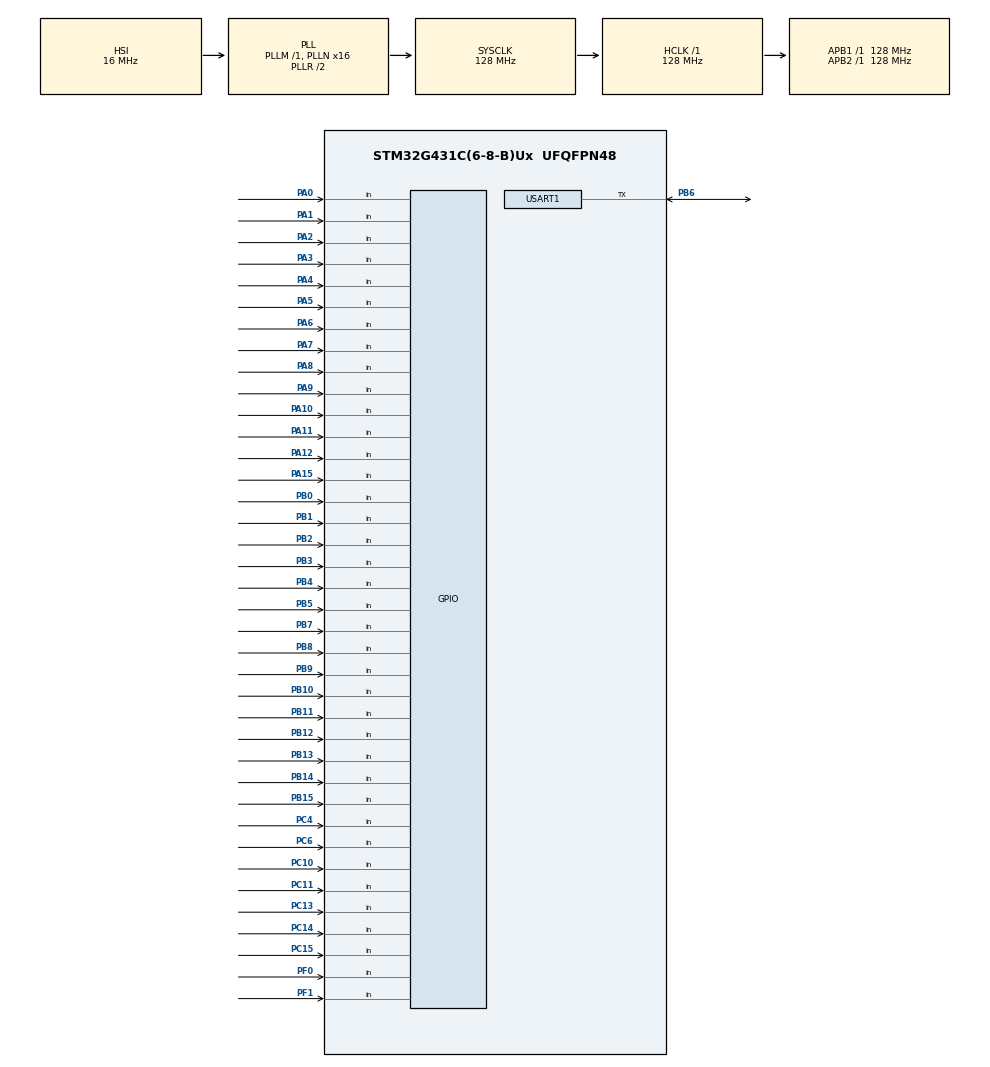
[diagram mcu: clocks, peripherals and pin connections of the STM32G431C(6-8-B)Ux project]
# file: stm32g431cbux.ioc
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Mcu.Family=STM32G4
Mcu.Name=STM32G431C(6-8-B)Ux
Mcu.Package=UFQFPN48
NVIC.PriorityGroup=NVIC_PRIORITYGROUP_4
PA0.GPIO_PuPd=GPIO_PULLUP
PA0.Signal=GPIO_Input
PA1.GPIO_PuPd=GPIO_PULLUP
PA1.Signal=GPIO_Input
PA10.GPIO_PuPd=GPIO_PULLUP
PA10.Signal=GPIO_Input
PA11.GPIO_PuPd=GPIO_PULLUP
PA11.Signal=GPIO_Input
PA12.GPIO_PuPd=GPIO_PULLUP
PA12.Signal=GPIO_Input
PA13.Mode=Serial_Wire
PA13.Signal=SYS_JTMS-SWDIO
PA14.Mode=Serial_Wire
PA14.Signal=SYS_JTCK-SWCLK
PA15.GPIO_PuPd=GPIO_PULLUP
PA15.Signal=GPIO_Input
PA2.GPIO_PuPd=GPIO_PULLUP
PA2.Signal=GPIO_Input
PA3.GPIO_PuPd=GPIO_PULLUP
PA3.Signal=GPIO_Input
PA4.GPIO_PuPd=GPIO_PULLUP
PA4.Signal=GPIO_Input
PA5.GPIO_PuPd=GPIO_PULLUP
PA5.Signal=GPIO_Input
PA6.GPIO_PuPd=GPIO_PULLUP
PA6.Signal=GPIO_Input
PA7.GPIO_PuPd=GPIO_PULLUP
PA7.Signal=GPIO_Input
PA8.GPIO_PuPd=GPIO_PULLUP
PA8.Signal=GPIO_Input
PA9.GPIO_PuPd=GPIO_PULLUP
PA9.Signal=GPIO_Input
PB0.GPIO_PuPd=GPIO_PULLUP
PB0.Signal=GPIO_Input
PB1.GPIO_PuPd=GPIO_PULLUP
PB1.Signal=GPIO_Input
PB10.GPIO_PuPd=GPIO_PULLUP
PB10.Signal=GPIO_Input
PB11.GPIO_PuPd=GPIO_PULLUP
PB11.Signal=GPIO_Input
PB12.GPIO_PuPd=GPIO_PULLUP
PB12.Signal=GPIO_Input
PB13.GPIO_PuPd=GPIO_PULLUP
PB13.Signal=GPIO_Input
PB14.GPIO_PuPd=GPIO_PULLUP
PB14.Signal=GPIO_Input
PB15.GPIO_PuPd=GPIO_PULLUP
PB15.Signal=GPIO_Input
PB2.GPIO_PuPd=GPIO_PULLUP
PB2.Signal=GPIO_Input
PB3.GPIO_PuPd=GPIO_PULLUP
PB3.Signal=GPIO_Input
PB4.GPIO_PuPd=GPIO_PULLUP
PB4.Signal=GPIO_Input
PB5.GPIO_PuPd=GPIO_PULLUP
PB5.Signal=GPIO_Input
PB6.GPIO_ModeDefaultOD=GPIO_MODE_AF_OD
PB6.Mode=Half_duplex(single_wire_mode)
PB6.Signal=USART1_TX
PB7.GPIO_PuPd=GPIO_PULLUP
PB7.Signal=GPIO_Input
PB8-BOOT0.GPIO_PuPd=GPIO_PULLUP
PB8-BOOT0.Signal=GPIO_Input
PB9.GPIO_PuPd=GPIO_PULLUP
PB9.Signal=GPIO_Input
PC10.GPIO_PuPd=GPIO_PULLUP
PC10.Signal=GPIO_Input
PC11.GPIO_PuPd=GPIO_PULLUP
PC11.Signal=GPIO_Input
PC13.GPIO_PuPd=GPIO_PULLUP
PC13.Signal=GPIO_Input
PC14-OSC32_IN.GPIO_PuPd=GPIO_PULLUP
PC14-OSC32_IN.Signal=GPIO_Input
PC15-OSC32_OUT.GPIO_PuPd=GPIO_PULLUP
PC15-OSC32_OUT.Signal=GPIO_Input
PC4.GPIO_PuPd=GPIO_PULLUP
PC4.Signal=GPIO_Input
PC6.GPIO_PuPd=GPIO_PULLUP
PC6.Signal=GPIO_Input
PF0-OSC_IN.GPIO_PuPd=GPIO_PULLUP
PF0-OSC_IN.Signal=GPIO_Input
PF1-OSC_OUT.GPIO_PuPd=GPIO_PULLUP
PF1-OSC_OUT.Signal=GPIO_Input
ProjectManager.HeapSize=0x200
ProjectManager.StackSize=0x400
ProjectManager.TargetToolchain=EWARM V8.50
RCC.ADC12Freq_Value=128000000
RCC.AHBFreq_Value=128000000
RCC.APB1Freq_Value=128000000
RCC.APB1TimFreq_Value=128000000
RCC.APB2Freq_Value=128000000
RCC.APB2TimFreq_Value=128000000
RCC.CortexFreq_Value=128000000
RCC.EXTERNAL_CLOCK_VALUE=12288000
RCC.HCLKFreq_Value=128000000
RCC.HSE_VALUE=8000000
RCC.HSI48_VALUE=48000000
RCC.HSI_VALUE=16000000
RCC.LSE_VALUE=32768
RCC.PLLN=16
RCC.SYSCLKFreq_VALUE=128000000
RCC.SYSCLKSource=RCC_SYSCLKSOURCE_PLLCLK
RCC.USBFreq_Value=128000000
RCC.VCOOutputFreq_Value=256000000
USART1.VirtualMode-Half_duplex(single_wire_mode)=VM_ASYNC
VP_SYS_VS_DBSignals.Mode=DisableDeadBatterySignals
VP_SYS_V_PVD_IN.Mode=Mode_PVD_Int
board=custom

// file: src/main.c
/* USER CODE BEGIN Header */
/**
 ******************************************************************************
 * @file           : main.c
 * @brief          : Main program body
 ******************************************************************************
 * @attention
 *
 * Copyright (c) 2023 STMicroelectronics.
 * All rights reserved.
 *
 * This software is licensed under terms that can be found in the LICENSE file
 * in the root directory of this software component.
 * If no LICENSE file comes with this software, it is provided AS-IS.
 *
 ******************************************************************************
 */
/* USER CODE END Header */
#include "main.h"

/* USER CODE BEGIN Includes */
#include "stdio.h"

/* USER CODE END Includes */

/* USER CODE BEGIN PTD */
typedef struct __Status
{
  GPIO_TypeDef *gpio;
  uint16_t pins;
  char *name;
  uint32_t state;
} Status;

/* USER CODE END PTD */

/* USER CODE BEGIN PD */
#define IO_NUM 4

/* USER CODE END PD */

UART_HandleTypeDef huart1;

void SystemClock_Config(void);
static void MX_GPIO_Init(void);
static void MX_USART1_UART_Init(void);
/* USER CODE BEGIN PFP */
int _write(int file, char *ptr, int len)
{
  HAL_UART_Transmit(&huart1, (uint8_t *)ptr, len, 10);
  return len;
}

/* USER CODE END PFP */

int main(void)
{

  /* MCU Configuration--------------------------------------------------------*/

  /* Reset of all peripherals, Initializes the Flash interface and the Systick. */
  HAL_Init();

  /* Configure the system clock */
  SystemClock_Config();

  /* Initialize all configured peripherals */
  MX_GPIO_Init();
  MX_USART1_UART_Init();
  /* USER CODE BEGIN 2 */
  setbuf(stdout, NULL);
  Status statuses[IO_NUM] = {
      {GPIOA, GPIO_PIN_0 | GPIO_PIN_1 | GPIO_PIN_2 | GPIO_PIN_3 | GPIO_PIN_4 | GPIO_PIN_5 | GPIO_PIN_6 | GPIO_PIN_7 | GPIO_PIN_8 | GPIO_PIN_9 | GPIO_PIN_10 | GPIO_PIN_11 | GPIO_PIN_12 | GPIO_PIN_15, "A", 0},
      {GPIOB, GPIO_PIN_0 | GPIO_PIN_1 | GPIO_PIN_2 | GPIO_PIN_10 | GPIO_PIN_11 | GPIO_PIN_12 | GPIO_PIN_13 | GPIO_PIN_14 | GPIO_PIN_15 | GPIO_PIN_3 | GPIO_PIN_4 | GPIO_PIN_5 | GPIO_PIN_7 | GPIO_PIN_8 | GPIO_PIN_9, "B", 0},
      {GPIOC, GPIO_PIN_13 | GPIO_PIN_14 | GPIO_PIN_15 | GPIO_PIN_4 | GPIO_PIN_6 | GPIO_PIN_10 | GPIO_PIN_11, "C", 0},
      {GPIOF, GPIO_PIN_0 | GPIO_PIN_1, "F", 0},
  };

  for (int i = 0; i < IO_NUM; i++)
  {
    Status *s = &statuses[i];
    uint32_t v = s->gpio->IDR;
    s->state = v;
  }

  printf("start\n");

  /* USER CODE END 2 */

  /* Infinite loop */
  /* USER CODE BEGIN WHILE */
  while (1)
  {
    for (int i = 0; i < IO_NUM; i++)
    {
      Status *s = &statuses[i];
      uint32_t v = s->gpio->IDR;
      if (v == s->state)
      {
        continue;
      }

      for (int j = 0; j < 16; j++)
      {
        uint16_t pin = 1 << j;
        if (!(pin & s->pins))
        {
          continue;
        }

        if ((v & pin) == (s->state & pin))
        {
          continue;
        }

        if ((v & pin) == 0)
        {
          printf("%s%d: L\n", s->name, j);
        }
        else
        {
          printf("%s%d: H\n", s->name, j);
        }
      }
      s->state = v;
    }
    HAL_Delay(100);
    /* USER CODE END WHILE */

  }
}

void SystemClock_Config(void)
{
  RCC_OscInitTypeDef RCC_OscInitStruct = {0};
  RCC_ClkInitTypeDef RCC_ClkInitStruct = {0};

  /** Configure the main internal regulator output voltage
   */
  HAL_PWREx_ControlVoltageScaling(PWR_REGULATOR_VOLTAGE_SCALE1);

  /** Initializes the RCC Oscillators according to the specified parameters
   * in the RCC_OscInitTypeDef structure.
   */
  RCC_OscInitStruct.OscillatorType = RCC_OSCILLATORTYPE_HSI;
  RCC_OscInitStruct.HSIState = RCC_HSI_ON;
  RCC_OscInitStruct.HSICalibrationValue = RCC_HSICALIBRATION_DEFAULT;
  RCC_OscInitStruct.PLL.PLLState = RCC_PLL_ON;
  RCC_OscInitStruct.PLL.PLLSource = RCC_PLLSOURCE_HSI;
  RCC_OscInitStruct.PLL.PLLM = RCC_PLLM_DIV1;
  RCC_OscInitStruct.PLL.PLLN = 16;
  RCC_OscInitStruct.PLL.PLLP = RCC_PLLP_DIV2;
  RCC_OscInitStruct.PLL.PLLQ = RCC_PLLQ_DIV2;
  RCC_OscInitStruct.PLL.PLLR = RCC_PLLR_DIV2;
  if (HAL_RCC_OscConfig(&RCC_OscInitStruct) != HAL_OK)
  {
    Error_Handler();
  }

  /** Initializes the CPU, AHB and APB buses clocks
   */
  RCC_ClkInitStruct.ClockType = RCC_CLOCKTYPE_HCLK | RCC_CLOCKTYPE_SYSCLK | RCC_CLOCKTYPE_PCLK1 | RCC_CLOCKTYPE_PCLK2;
  RCC_ClkInitStruct.SYSCLKSource = RCC_SYSCLKSOURCE_PLLCLK;
  RCC_ClkInitStruct.AHBCLKDivider = RCC_SYSCLK_DIV1;
  RCC_ClkInitStruct.APB1CLKDivider = RCC_HCLK_DIV1;
  RCC_ClkInitStruct.APB2CLKDivider = RCC_HCLK_DIV1;

  if (HAL_RCC_ClockConfig(&RCC_ClkInitStruct, FLASH_LATENCY_4) != HAL_OK)
  {
    Error_Handler();
  }
}

static void MX_USART1_UART_Init(void)
{

  huart1.Instance = USART1;
  huart1.Init.BaudRate = 115200;
  huart1.Init.WordLength = UART_WORDLENGTH_8B;
  huart1.Init.StopBits = UART_STOPBITS_1;
  huart1.Init.Parity = UART_PARITY_NONE;
  huart1.Init.Mode = UART_MODE_TX_RX;
  huart1.Init.HwFlowCtl = UART_HWCONTROL_NONE;
  huart1.Init.OverSampling = UART_OVERSAMPLING_16;
  huart1.Init.OneBitSampling = UART_ONE_BIT_SAMPLE_DISABLE;
  huart1.Init.ClockPrescaler = UART_PRESCALER_DIV1;
  huart1.AdvancedInit.AdvFeatureInit = UART_ADVFEATURE_NO_INIT;
  if (HAL_HalfDuplex_Init(&huart1) != HAL_OK)
  {
    Error_Handler();
  }
  if (HAL_UARTEx_SetTxFifoThreshold(&huart1, UART_TXFIFO_THRESHOLD_1_8) != HAL_OK)
  {
    Error_Handler();
  }
  if (HAL_UARTEx_SetRxFifoThreshold(&huart1, UART_RXFIFO_THRESHOLD_1_8) != HAL_OK)
  {
    Error_Handler();
  }
  if (HAL_UARTEx_DisableFifoMode(&huart1) != HAL_OK)
  {
    Error_Handler();
  }
}

static void MX_GPIO_Init(void)
{
  GPIO_InitTypeDef GPIO_InitStruct = {0};

  /* GPIO Ports Clock Enable */
  __HAL_RCC_GPIOC_CLK_ENABLE();
  __HAL_RCC_GPIOF_CLK_ENABLE();
  __HAL_RCC_GPIOA_CLK_ENABLE();
  __HAL_RCC_GPIOB_CLK_ENABLE();

  /*Configure GPIO pins : PC13 PC14 PC15 PC4
                           PC6 PC10 PC11 */
  GPIO_InitStruct.Pin = GPIO_PIN_13 | GPIO_PIN_14 | GPIO_PIN_15 | GPIO_PIN_4 | GPIO_PIN_6 | GPIO_PIN_10 | GPIO_PIN_11;
  GPIO_InitStruct.Mode = GPIO_MODE_INPUT;
  GPIO_InitStruct.Pull = GPIO_PULLUP;
  HAL_GPIO_Init(GPIOC, &GPIO_InitStruct);

  /*Configure GPIO pins : PF0 PF1 */
  GPIO_InitStruct.Pin = GPIO_PIN_0 | GPIO_PIN_1;
  GPIO_InitStruct.Mode = GPIO_MODE_INPUT;
  GPIO_InitStruct.Pull = GPIO_PULLUP;
  HAL_GPIO_Init(GPIOF, &GPIO_InitStruct);

  /*Configure GPIO pins : PA0 PA1 PA2 PA3
                           PA4 PA5 PA6 PA7
                           PA8 PA9 PA10 PA11
                           PA12 PA15 */
  GPIO_InitStruct.Pin = GPIO_PIN_0 | GPIO_PIN_1 | GPIO_PIN_2 | GPIO_PIN_3 | GPIO_PIN_4 | GPIO_PIN_5 | GPIO_PIN_6 | GPIO_PIN_7 | GPIO_PIN_8 | GPIO_PIN_9 | GPIO_PIN_10 | GPIO_PIN_11 | GPIO_PIN_12 | GPIO_PIN_15;
  GPIO_InitStruct.Mode = GPIO_MODE_INPUT;
  GPIO_InitStruct.Pull = GPIO_PULLUP;
  HAL_GPIO_Init(GPIOA, &GPIO_InitStruct);

  /*Configure GPIO pins : PB0 PB1 PB2 PB10
                           PB11 PB12 PB13 PB14
                           PB15 PB3 PB4 PB5
                           PB7 PB8 PB9 */
  GPIO_InitStruct.Pin = GPIO_PIN_0 | GPIO_PIN_1 | GPIO_PIN_2 | GPIO_PIN_10 | GPIO_PIN_11 | GPIO_PIN_12 | GPIO_PIN_13 | GPIO_PIN_14 | GPIO_PIN_15 | GPIO_PIN_3 | GPIO_PIN_4 | GPIO_PIN_5 | GPIO_PIN_7 | GPIO_PIN_8 | GPIO_PIN_9;
  GPIO_InitStruct.Mode = GPIO_MODE_INPUT;
  GPIO_InitStruct.Pull = GPIO_PULLUP;
  HAL_GPIO_Init(GPIOB, &GPIO_InitStruct);

}

void Error_Handler(void)
{
  __disable_irq();
  while (1)
  {
  }
}
